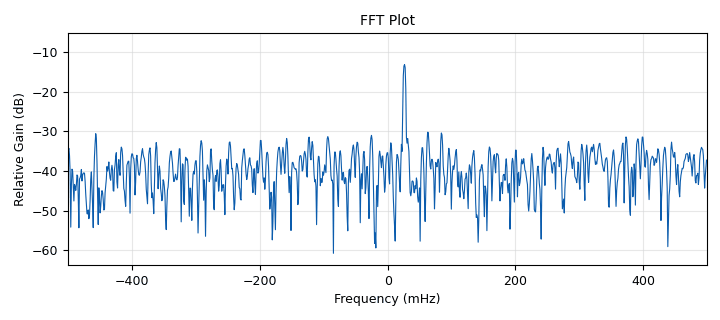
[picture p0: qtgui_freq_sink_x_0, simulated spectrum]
options:
  parameters:
    author: mettus
    category: Custom
    generate_options: qt_gui
    id: demo_spec_an
    output_language: python
  states: {}

blocks:
- name: fft_size
  id: variable
  parameters:
    value: '1000'
  states: {}
- name: freq_offset
  id: variable_qtgui_range
  parameters:
    label: Frequency Offset
    orient: Qt.Horizontal
    start: '-5*samp_rate/fft_size'
    step: '1'
    stop: 5*samp_rate/fft_size
    value: '0'
  states: {}
- name: samp_rate
  id: variable
  parameters:
    value: '100000'
  states: {}
- name: snr
  id: variable_qtgui_range
  parameters:
    label: Noise Level
    orient: Qt.Horizontal
    start: '-100'
    step: '1'
    stop: '100'
    value: '0'
  states: {}
- name: analog_noise_source_x_0
  id: analog_noise_source_x
  parameters:
    amp: math.pow(10.0,snr/20.0)
    noise_type: analog.GR_GAUSSIAN
    seed: '42'
    type: complex
  states: {}
- name: analog_sig_source_x_0
  id: analog_sig_source_x
  parameters:
    amp: '1.0'
    freq: float(samp_rate)/float(fft_size)*26+freq_offset
    offset: '0'
    samp_rate: samp_rate
    type: complex
    waveform: analog.GR_COS_WAVE
  states: {}
- name: blocks_add_xx_0
  id: blocks_add_xx
  parameters:
    type: complex
  states: {}
- name: blocks_divide_xx_0
  id: blocks_divide_xx
  parameters:
    type: float
  states: {}
- name: blocks_nlog10_ff_0
  id: blocks_nlog10_ff
  parameters:
    k: '0'
    n: '20'
  states: {}
- name: blocks_rms_xx_0
  id: blocks_rms_xx
  parameters:
    alpha: '.0001'
    type: complex
  states: {}
- name: blocks_rms_xx_0_0
  id: blocks_rms_xx
  parameters:
    alpha: '.0001'
    type: complex
  states: {}
- name: blocks_throttle_0
  id: blocks_throttle
  parameters:
    samples_per_second: samp_rate
    type: complex
  states: {}
- name: imp0
  id: import
  parameters:
    imports: import math
  states: {}
- name: qtgui_freq_sink_x_0
  id: qtgui_freq_sink_x
  parameters:
    autoscale: 'True'
    bw: '1.0'
    fc: '0'
    fftsize: '1024'
    name: FFT Plot
    showports: 'True'
    type: complex
    wintype: fft.window.WIN_FLATTOP
  states: {}
- name: qtgui_number_sink_0
  id: qtgui_number_sink
  parameters:
    graph_type: qtgui.NUM_GRAPH_HORIZ
    label1: Noise Amplitude
    max: '100'
    min: '0'
    type: float
  states: {}
- name: qtgui_number_sink_signal_amplitude
  id: qtgui_number_sink
  parameters:
    graph_type: qtgui.NUM_GRAPH_HORIZ
    label1: Signal Amplitude
    max: '2'
    min: '0'
    type: float
  states: {}
- name: qtgui_number_sink_snr
  id: qtgui_number_sink
  parameters:
    autoscale: 'True'
    graph_type: qtgui.NUM_GRAPH_HORIZ
    label1: SNR
    type: float
  states: {}
- name: qtgui_time_sink_x_0
  id: qtgui_time_sink_x
  parameters:
    color1: '"blue"'
    color2: '"red"'
    label1: ''
    label2: ''
    name: Scope Plot
    size: '1024'
    srate: samp_rate
    type: complex
  states: {state: disabled}

connections:
- [analog_noise_source_x_0, '0', blocks_add_xx_0, '1']
- [analog_noise_source_x_0, '0', blocks_rms_xx_0, '0']
- [analog_sig_source_x_0, '0', blocks_add_xx_0, '0']
- [analog_sig_source_x_0, '0', blocks_rms_xx_0_0, '0']
- [blocks_add_xx_0, '0', blocks_throttle_0, '0']
- [blocks_divide_xx_0, '0', blocks_nlog10_ff_0, '0']
- [blocks_nlog10_ff_0, '0', qtgui_number_sink_snr, '0']
- [blocks_rms_xx_0, '0', blocks_divide_xx_0, '1']
- [blocks_rms_xx_0, '0', qtgui_number_sink_0, '0']
- [blocks_rms_xx_0_0, '0', blocks_divide_xx_0, '0']
- [blocks_rms_xx_0_0, '0', qtgui_number_sink_signal_amplitude, '0']
- [blocks_throttle_0, '0', qtgui_freq_sink_x_0, '0']
- [blocks_throttle_0, '0', qtgui_time_sink_x_0, '0']

metadata:
  file_format: 1
